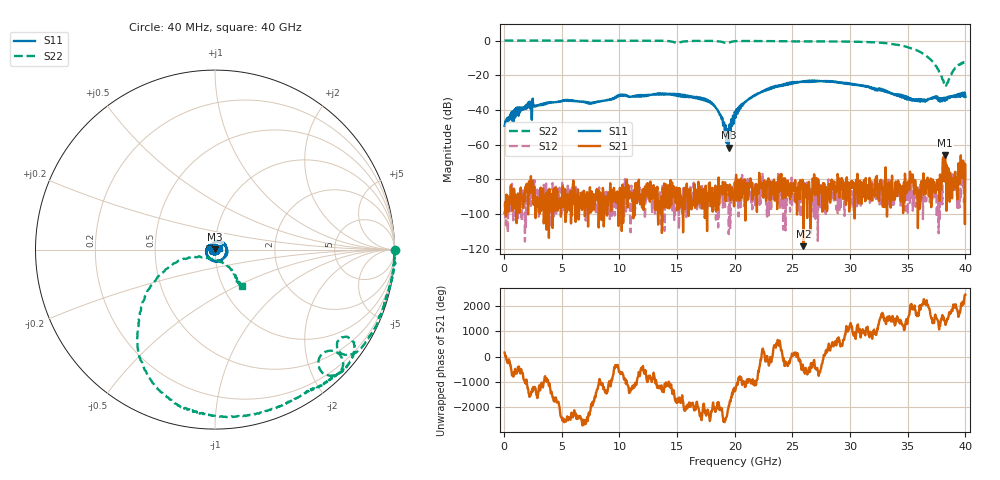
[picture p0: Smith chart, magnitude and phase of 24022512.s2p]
! 3/28/2024 3:55:39 PM
! D:\MS4647AVNA\292M185F 240225XX\24022512.S2P
! CHANNEL.1
! TR.MEASUREMENT
! CORRECTED.DATA
# GHZ S RI R 50.0
! FREQ.GHZ  S11RE  S11IM  S21RE  S21IM  S12RE  S12IM  S22RE  S22IM
!; PortSelection: Port_12
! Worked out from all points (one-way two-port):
!   1000 points, 40 MHz to 40 GHz, reference 50 ohm
!   highest |S21| = -66.10 dB at 38.24 GHz (marker M1); lowest = -118.4 dB at 25.96 GHz (marker M2)
!   lowest |S11| = -61.7 dB at 19.48 GHz (marker M3), VSWR 1.00, Z = 50 + j0.081 ohm
!   |S11| at or under -10 dB: start of sweep to end of sweep
!   |S22| runs from -26.0 to 0.1 dB; largest |S21 - S12| = 0.00057
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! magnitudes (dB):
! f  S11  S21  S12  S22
! 40 MHz  -49.1  -99.3  -96.1  0.0
! 840 MHz  -46.3  -85.3  -88.5  0.0
! 2.16 GHz  -38.3  -81.1  -82.6  0.0
! 6.72 GHz  -35.3  -87.5  -92.8  -0.1
! 13.36 GHz  -30.4  -106.0  -92.8  -0.1
! 17.72 GHz  -34.6  -92.5  -96.8  -0.2
! 18.44 GHz  -39.3  -86.0  -88.0  -0.3
! 19.28 GHz  -59.0  -84.0  -89.7  -1.6
! 19.48 GHz  -61.7  -89.2  -111.5  -1.3
! 20.04 GHz  -42.0  -88.0  -85.4  -0.4
! 20.92 GHz  -35.3  -103.6  -86.0  -0.2
! 22.2 GHz  -30.0  -80.3  -87.3  -0.3
! 25.96 GHz  -23.6  -118.4  -89.5  -0.5
! 26.68 GHz  -23.6  -90.0  -90.2  -0.5
! 33.36 GHz  -30.0  -81.9  -86.6  -1.7
! 36.48 GHz  -34.5  -80.6  -92.6  -8.3
! 37.8 GHz  -35.1  -77.2  -88.1  -18.6
! 38.24 GHz  -34.7  -66.1  -78.1  -24.8
! 38.56 GHz  -33.2  -85.0  -87.6  -22.3
! 38.84 GHz  -32.5  -90.8  -81.0  -18.4
! 39.68 GHz  -31.8  -70.3  -83.2  -12.9
! 40 GHz  -32.5  -71.6  -74.9  -12.0
